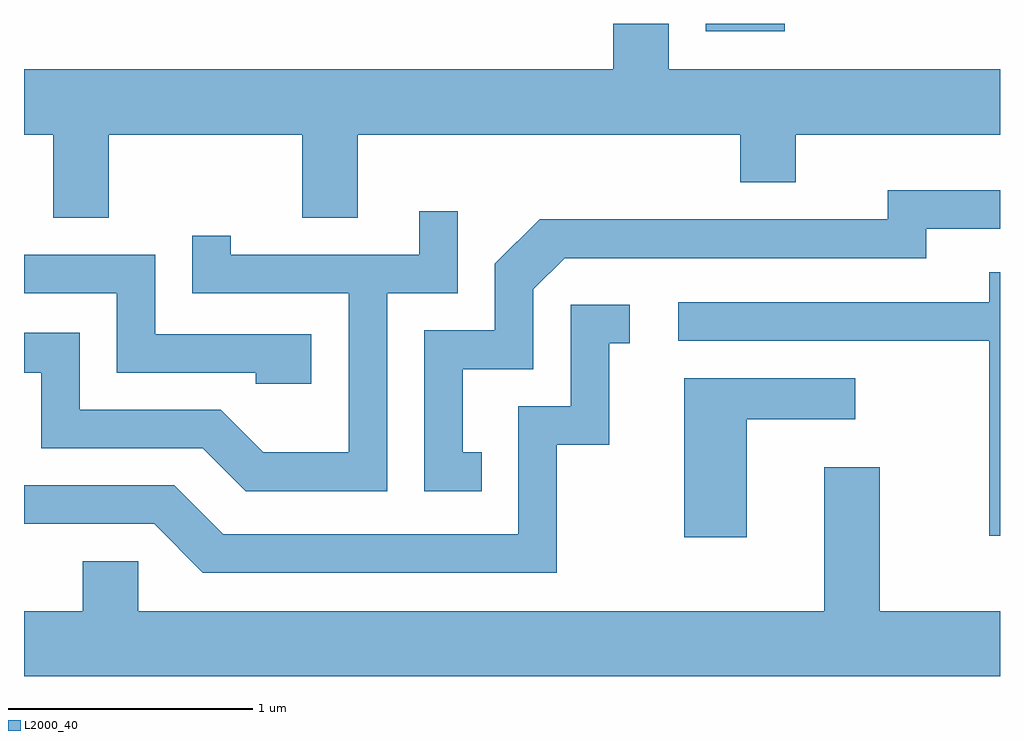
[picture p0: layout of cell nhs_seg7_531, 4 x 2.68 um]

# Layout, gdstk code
import gdstk
lib = gdstk.Library(unit=1e-6, precision=1e-09)
def R(c, l, rs):  # rectangles x0, y0, x1, y1
    for r in rs: c.add(gdstk.rectangle(r[:2], r[2:], *l))
def P(c, l, *ps):  # polygons
    for p in ps: c.add(gdstk.Polygon(p, *l))
L2000_40 = (2000, 40)

nhs_seg7_531 = lib.new_cell('nhs_seg7_531')
R(nhs_seg7_531, L2000_40, [(202.406,1790.221,202.728,1790.252)])
P(nhs_seg7_531, L2000_40, [(199.959,1789.796),(200.751,1789.796),(200.751,1789.456),(200.979,1789.456),(200.979,1789.796),(202.546,1789.796),(202.546,1789.601),(202.774,1789.601),(202.774,1789.796),(203.611,1789.796),(203.611,1790.064),(202.254,1790.064),(202.254,1790.252),(202.026,1790.252),(202.026,1790.064),(199.611,1790.064),(199.611,1789.796),(199.731,1789.796),(199.731,1789.456),(199.959,1789.456)],
  [(201.488,1788.494),(201.409,1788.494),(201.409,1788.836),(201.699,1788.836),(201.699,1789.164),(201.827,1789.291),(203.309,1789.291),(203.309,1789.411),(203.611,1789.411),(203.611,1789.569),(203.151,1789.569),(203.151,1789.449),(201.724,1789.449),(201.541,1789.267),(201.541,1788.994),(201.251,1788.994),(201.251,1788.336),(201.488,1788.336)],
  [(201.099,1789.146),(201.389,1789.146),(201.389,1789.483),(201.231,1789.483),(201.231,1789.304),(200.459,1789.304),(200.459,1789.383),(200.301,1789.383),(200.301,1789.146),(200.941,1789.146),(200.941,1788.494),(200.592,1788.494),(200.417,1788.669),(199.839,1788.669),(199.839,1788.984),(199.611,1788.984),(199.611,1788.821),(199.681,1788.821),(199.681,1788.511),(200.344,1788.511),(200.519,1788.336),(201.099,1788.336)],
  [(200.789,1788.979),(200.149,1788.979),(200.149,1789.304),(199.611,1789.304),(199.611,1789.146),(199.991,1789.146),(199.991,1788.821),(200.561,1788.821),(200.561,1788.776),(200.789,1788.776)],
  [(203.611,1789.233),(203.566,1789.233),(203.566,1789.109),(202.293,1789.109),(202.293,1788.951),(203.566,1788.951),(203.566,1788.153),(203.611,1788.153)],
  [(201.794,1788.526),(202.009,1788.526),(202.009,1788.941),(202.093,1788.941),(202.093,1789.099),(201.851,1789.099),(201.851,1788.684),(201.636,1788.684),(201.636,1788.159),(200.427,1788.159),(200.227,1788.359),(199.611,1788.359),(199.611,1788.201),(200.144,1788.201),(200.344,1788.001),(201.794,1788.001)],
  [(202.574,1788.631),(203.018,1788.631),(203.018,1788.799),(202.316,1788.799),(202.316,1788.146),(202.574,1788.146)],
  [(203.611,1787.844),(203.119,1787.844),(203.119,1788.434),(202.891,1788.434),(202.891,1787.844),(200.079,1787.844),(200.079,1788.049),(199.851,1788.049),(199.851,1787.844),(199.611,1787.844),(199.611,1787.576),(203.611,1787.576)])

lib.write_gds('nhs_seg7_531.gds')
